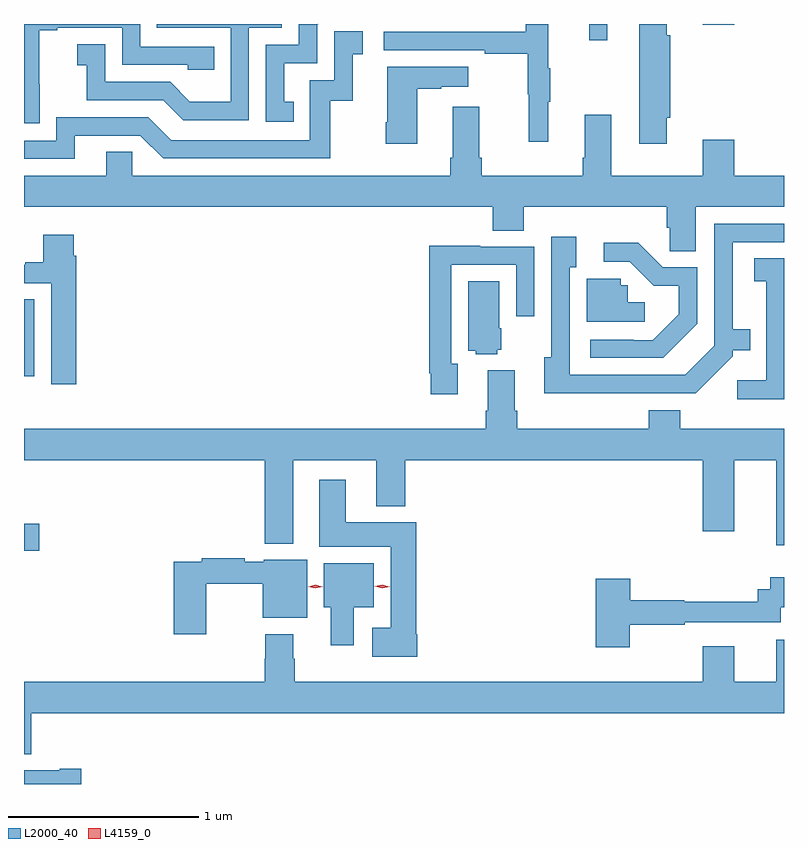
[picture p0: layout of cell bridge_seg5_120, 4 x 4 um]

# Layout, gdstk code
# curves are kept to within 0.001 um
import gdstk
lib = gdstk.Library(unit=1e-6, precision=1e-09)
def R(c, l, rs):  # rectangles x0, y0, x1, y1
    for r in rs: c.add(gdstk.rectangle(r[:2], r[2:], *l))
def P(c, l, *ps):  # polygons
    for p in ps: c.add(gdstk.Polygon(p, *l))
L2000_40 = (2000, 40)
L4159_0 = (4159, 0)

bridge_seg5_120 = lib.new_cell('bridge_seg5_120')
R(bridge_seg5_120, L2000_40, [(437.159,894.911,437.239,895.053), (437.159,895.829,437.212,896.234), (440.133,897.597,440.23,897.683), (440.732,897.678,440.896,897.683)])
P(bridge_seg5_120, L2000_40, [(437.241,897.367),(437.24,897.367),(437.24,897.651),(437.335,897.651),(437.335,897.663),(437.676,897.663),(437.676,897.468),(438.021,897.468),(438.021,897.441),(438.161,897.441),(438.161,897.564),(437.772,897.564),(437.772,897.683),(437.159,897.683),(437.159,897.161),(437.241,897.161)],
  [(440.542,897.189),(440.56,897.189),(440.56,897.625),(440.542,897.625),(440.542,897.683),(440.396,897.683),(440.396,897.054),(440.542,897.054)],
  [(438.578,897.273),(438.529,897.273),(438.529,897.477),(438.702,897.477),(438.702,897.678),(438.707,897.683),(438.606,897.683),(438.606,897.573),(438.432,897.573),(438.432,897.168),(438.578,897.168)],
  [(439.919,897.275),(439.93,897.275),(439.93,897.449),(439.919,897.449),(439.919,897.683),(439.801,897.683),(439.801,897.642),(439.053,897.642),(439.053,897.546),(439.585,897.546),(439.585,897.526),(439.809,897.526),(439.809,897.312),(439.816,897.312),(439.816,897.063),(439.919,897.063)],
  [(438.342,897.663),(438.516,897.663),(438.516,897.683),(437.857,897.683),(437.857,897.663),(438.246,897.663),(438.246,897.274),(438.032,897.274),(437.928,897.378),(437.586,897.378),(437.586,897.577),(437.439,897.577),(437.439,897.467),(437.488,897.467),(437.488,897.282),(437.891,897.282),(437.996,897.177),(438.342,897.177)],
  [(437.425,897.096),(437.772,897.096),(437.892,896.976),(438.772,896.976),(438.772,897.279),(438.89,897.279),(438.89,897.525),(438.943,897.525),(438.943,897.646),(438.792,897.646),(438.792,897.387),(438.663,897.387),(438.663,897.072),(437.934,897.072),(437.814,897.192),(437.328,897.192),(437.328,897.069),(437.159,897.069),(437.159,896.973),(437.425,896.973)],
  [(439.228,897.343),(439.355,897.343),(439.355,897.353),(439.498,897.353),(439.498,897.457),(439.07,897.457),(439.07,897.166),(439.063,897.166),(439.063,897.054),(439.228,897.054)],
  [(440.695,896.72),(441.159,896.72),(441.159,896.884),(440.896,896.884),(440.896,897.073),(440.732,897.073),(440.732,896.884),(440.251,896.884),(440.251,897.205),(440.111,897.205),(440.111,896.98),(440.099,896.98),(440.099,896.884),(439.568,896.884),(439.568,896.98),(439.555,896.98),(439.555,897.247),(439.415,897.247),(439.415,896.98),(439.403,896.98),(439.403,896.884),(437.73,896.884),(437.73,897.011),(437.591,897.011),(437.591,896.884),(437.159,896.884),(437.159,896.72),(439.625,896.72),(439.625,896.596),(439.79,896.596),(439.79,896.72),(440.543,896.72),(440.543,896.61),(440.557,896.61),(440.557,896.488),(440.695,896.488)],
  [(440.363,895.74),(440.694,895.74),(440.889,895.935),(440.889,895.967),(440.981,895.967),(440.981,896.077),(440.89,896.077),(440.89,896.535),(441.159,896.535),(441.159,896.631),(440.793,896.631),(440.793,895.989),(440.64,895.836),(440.031,895.836),(440.031,896.402),(440.065,896.402),(440.065,896.563),(439.935,896.563),(439.935,895.93),(439.898,895.93),(439.898,895.739)],
  [(437.435,896.462),(437.422,896.462),(437.422,896.575),(437.261,896.575),(437.261,896.428),(437.165,896.428),(437.165,896.415),(437.159,896.415),(437.159,896.319),(437.303,896.319),(437.303,895.788),(437.435,895.788)],
  [(440.703,896.105),(440.703,896.403),(440.52,896.403),(440.392,896.531),(440.211,896.531),(440.211,896.433),(440.346,896.433),(440.473,896.306),(440.606,896.306),(440.606,896.156),(440.469,896.019),(440.369,896.019),(440.369,896.022),(440.139,896.022),(440.139,895.926),(440.524,895.926)],
  [(439.441,895.895),(439.407,895.895),(439.407,896.415),(439.749,896.415),(439.749,896.145),(439.845,896.145),(439.845,896.511),(439.561,896.511),(439.561,896.515),(439.291,896.515),(439.291,895.846),(439.299,895.846),(439.299,895.734),(439.441,895.734)],
  [(441.159,896.45),(441.003,896.45),(441.003,896.329),(441.066,896.329),(441.066,895.807),(440.913,895.807),(440.913,895.709),(441.159,895.709)],
  [(440.425,896.218),(440.337,896.218),(440.337,896.307),(440.301,896.307),(440.301,896.343),(440.12,896.343),(440.12,896.115),(440.425,896.115)],
  [(439.65,895.968),(439.672,895.968),(439.672,896.082),(439.66,896.082),(439.66,896.33),(439.496,896.33),(439.496,895.964),(439.536,895.964),(439.536,895.946),(439.65,895.946)],
  [(441.159,895.552),(440.612,895.552),(440.612,895.651),(440.447,895.651),(440.447,895.552),(439.754,895.552),(439.754,895.648),(439.741,895.648),(439.741,895.861),(439.601,895.861),(439.601,895.648),(439.589,895.648),(439.589,895.552),(437.159,895.552),(437.159,895.388),(438.425,895.388),(438.425,894.947),(438.577,894.947),(438.577,895.388),(439.013,895.388),(439.013,895.145),(439.166,895.145),(439.166,895.388),(440.732,895.388),(440.732,895.014),(440.896,895.014),(440.896,895.388),(441.119,895.388),(441.119,894.939),(441.159,894.939)],
  [(439.228,894.471),(439.223,894.471),(439.223,895.06),(438.853,895.06),(438.853,895.285),(438.713,895.285),(438.713,894.932),(439.088,894.932),(439.088,894.505),(438.993,894.505),(438.993,894.353),(439.228,894.353)],
  [(438.118,894.736),(438.416,894.736),(438.416,894.557),(438.649,894.557),(438.649,894.862),(438.42,894.862),(438.42,894.852),(438.32,894.852),(438.32,894.872),(438.094,894.872),(438.094,894.852),(437.948,894.852),(437.948,894.471),(438.118,894.471)],
  [(438.895,894.614),(439,894.614),(439,894.844),(438.737,894.844),(438.737,894.614),(438.773,894.614),(438.773,894.414),(438.895,894.414)],
  [(440.346,894.522),(440.636,894.522),(440.636,894.534),(441.141,894.534),(441.141,894.612),(441.159,894.612),(441.159,894.772),(441.086,894.772),(441.086,894.708),(441.022,894.708),(441.022,894.643),(440.634,894.643),(440.634,894.65),(440.351,894.65),(440.351,894.763),(440.168,894.763),(440.168,894.402),(440.346,894.402)],
  [(437.197,894.056),(441.159,894.056),(441.159,894.442),(441.119,894.442),(441.119,894.22),(440.896,894.22),(440.896,894.409),(440.732,894.409),(440.732,894.22),(438.585,894.22),(438.585,894.341),(438.577,894.341),(438.577,894.472),(438.43,894.472),(438.43,894.341),(438.425,894.341),(438.425,894.22),(437.159,894.22),(437.159,893.84),(437.197,893.84)],
  [(437.461,893.763),(437.348,893.763),(437.348,893.755),(437.159,893.755),(437.159,893.683),(437.461,893.683)])
P(bridge_seg5_120, L4159_0, [(439.044,894.713),(439.005,894.723),(439.004,894.723),(439.005,894.723),(439.044,894.733),(439.084,894.722),(439.084,894.722),(439.084,894.722)],
  [(438.693,894.712),(438.655,894.722),(438.655,894.722),(438.655,894.722),(438.693,894.732),(438.731,894.722),(438.731,894.722),(438.731,894.722)])

lib.write_gds('bridge_seg5_120.gds')
